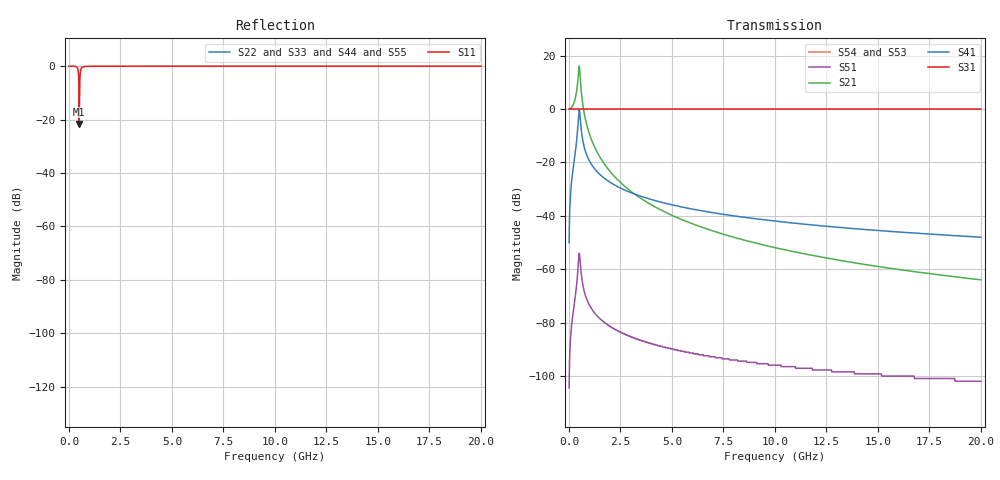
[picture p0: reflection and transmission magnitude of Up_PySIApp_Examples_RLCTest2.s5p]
# MHz MA S R 50.0
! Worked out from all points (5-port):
!   2000 points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, 10 MHz to 20 GHz, reference 50 ohm
!   strongest paths, dB at 10 MHz, 5.01 GHz, 10.01 GHz, 15.01 GHz, 20 GHz:
!     S31: 0.0, 0.0, 0.0, 0.0, 0.0
!     S41: -50.1, -35.9, -42.0, -45.5, -48.0
!     S21: 0.0, -39.8, -51.9, -59.0, -64.0
!     S51: -104.4, -89.9, -95.9, -99.2, -101.9
!     S54: -, -, -, -, -
!     S53: -, -, -, -, -
!   lowest |S11| = -21.6 dB at 500 MHz (marker M1), VSWR 1.18, Z = 50 - j8.3 ohm
!   |S11| at or under -10 dB: 490.1 MHz to 517.7 MHz (27.65 MHz wide, 5.49 % of centre)
